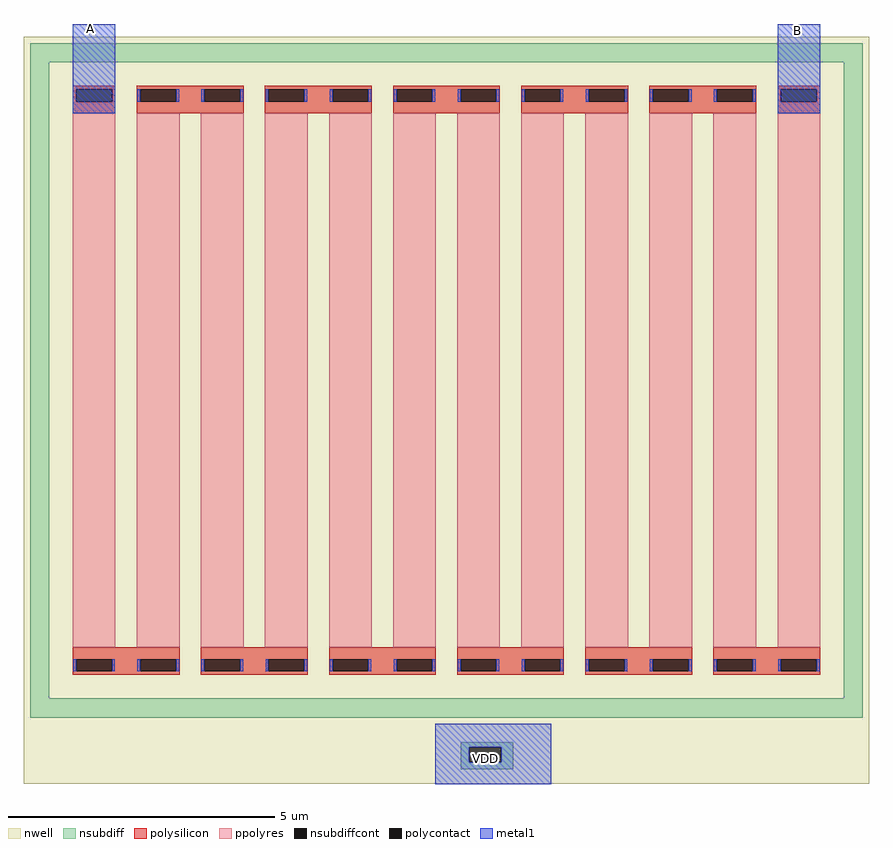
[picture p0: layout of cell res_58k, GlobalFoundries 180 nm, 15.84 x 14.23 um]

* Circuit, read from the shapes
.subckt res_58k A B VDD
XR1 A n1 VSUBS ppolyf_u r_width=0.8u r_length=10u
XR2 n2 n1 VSUBS ppolyf_u r_width=0.8u r_length=10u
XR3 n2 n3 VSUBS ppolyf_u r_width=0.8u r_length=10u
XR4 n4 n3 VSUBS ppolyf_u r_width=0.8u r_length=10u
XR5 n4 n5 VSUBS ppolyf_u r_width=0.8u r_length=10u
XR6 n6 n5 VSUBS ppolyf_u r_width=0.8u r_length=10u
XR7 n6 n7 VSUBS ppolyf_u r_width=0.8u r_length=10u
XR8 n8 n7 VSUBS ppolyf_u r_width=0.8u r_length=10u
XR9 n8 n9 VSUBS ppolyf_u r_width=0.8u r_length=10u
XR10 n10 n9 VSUBS ppolyf_u r_width=0.8u r_length=10u
XR11 n10 n11 VSUBS ppolyf_u r_width=0.8u r_length=10u
XR12 B n11 VSUBS ppolyf_u r_width=0.8u r_length=10u
.ends

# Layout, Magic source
magic
tech gf180mcuC
magscale 1 10
<< nwell >>
rect -60 -284 3108 2433
<< nsubdiff >>
rect 1577 -147 1774 -129
rect 1577 -204 1609 -147
rect 1729 -204 1774 -147
rect 1577 -230 1774 -204
<< nsubdiffcont >>
rect 1609 -204 1729 -147
<< polysilicon >>
rect 364 2227 764 2330
rect 844 2227 1244 2330
rect 1324 2227 1724 2330
rect 1804 2227 2204 2330
rect 2284 2227 2684 2330
rect 124 124 524 227
rect 604 124 1004 227
rect 1084 124 1484 227
rect 1564 124 1964 227
rect 2044 124 2444 227
rect 2524 124 2924 227
<< metal1 >>
rect 124 2228 284 2562
rect 2764 2227 2924 2561
rect 1481 -147 1917 -59
rect 1481 -204 1609 -147
rect 1729 -204 1917 -147
rect 1481 -285 1917 -204
use ppolyf_u_TPG973  ppolyf_u_TPG973_0
transform 1 0 1524 0 1 1227
box -1584 -1287 1584 1287
<< labels >>
flabel metal1 192 2545 192 2545 0 FreeSans 480 0 0 0 A
port 0 nsew
flabel metal1 2839 2537 2839 2537 0 FreeSans 480 0 0 0 B
port 1 nsew
flabel nsubdiffcont 1670 -190 1670 -190 0 FreeSans 480 0 0 0 VDD
port 2 nsew
<< end >>

# cell ppolyf_u_TPG973: kit device ppolyf_u, w 0.8 l 10.0 m 1 nx 12 wmin 0.80 lmin 1.00 rho 315 val 4.315k dummy 0 dw 0.07 term 0.0 sterm 0.0 caplen 0.4 snake 0 glc 0 grc 0 gtc 0 gbc 0 roverlap 0 endcov 100 full_metal 0
